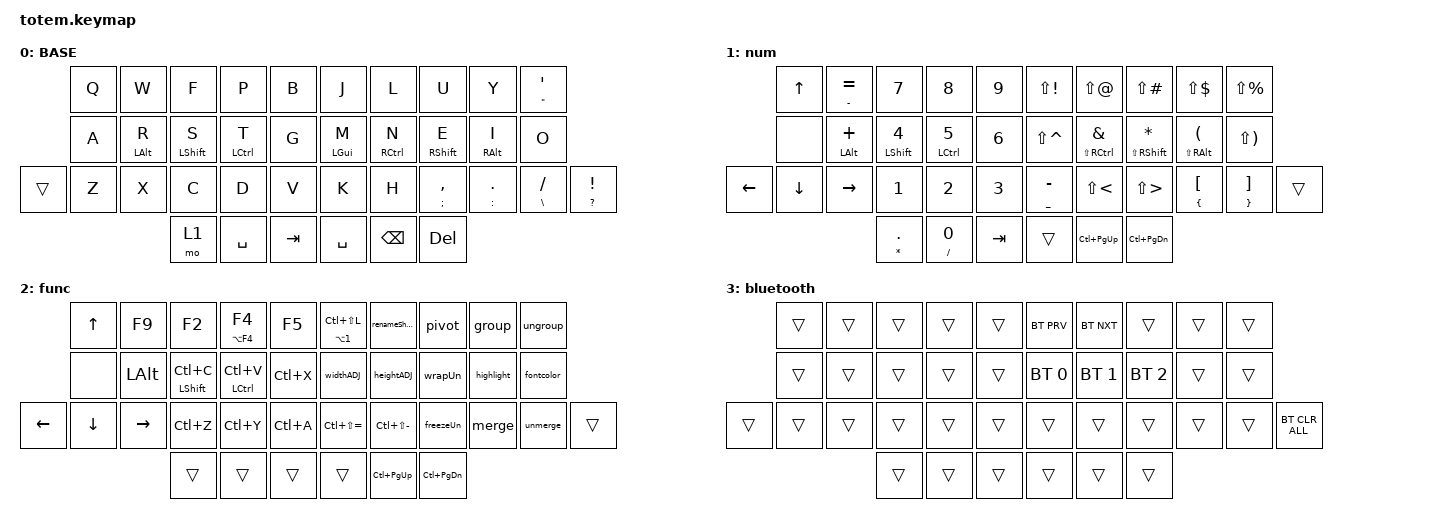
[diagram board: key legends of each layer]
//
//                                                        ▀▀▀▀▀     ▀▀▀▀▀          ▀▀█▀▀
//                                                        ▄▀▀▀▄  ▄  ▄▀▀▀▄  ▄  ▄▀▀▀▄  █  ▄▀▀▀▄
//                                                        █   █  █  █   █  █  █   █  █  █   █
//                                                         ▀▀▀   █   ▀▀▀   █   ▀▀▀   ▀   ▀▀▀
//                                                               █      ▄▄▄█▄▄▄    █   █  
//                                                               ▀      █  █  █     █▄█
//                                                             ▀▀▀▀▀    █  █  █      ▀
//                                                                      ▀  ▀  ▀
//
// ▄▄▄▄▄▄▄▄▄▄▄▄▄▄▄▄▄▄▄▄▄▄▄▄▄▄▄▄▄▄▄▄▄▄▄▄▄▄▄▄▄▄▄▄▄▄▄▄▄▄▄▄▄▄▄▄▄▄▄▄▄▄▄▄▄▄▄▄▄▄▄▄▄▄▄▄▄▄▄▄▄▄▄▄▄▄▄▄▄▄▄▄▄▄▄▄▄▄▄▄▄▄▄▄▄▄▄▄▄▄▄▄▄▄▄▄▄▄▄▄▄▄▄▄▄▄▄▄▄▄▄▄▄▄▄▄▄▄▄▄▄▄▄▄▄▄▄▄▄

#include <behaviors.dtsi>
#include <dt-bindings/zmk/bt.h>
#include <dt-bindings/zmk/keys.h>

#define BASE 0
#define NAV  1
#define SYM  2
#define ADJ  3

&mt {
    quick-tap-ms = <100>;
    global-quick-tap;
    flavor = "tap-preferred";
    tapping-term-ms = <190>;
};

/ {
    combos {
        compatible = "zmk,combos";

        numlayer {
            bindings = <&to 1>;
            key-positions = <32 10>;
        };

        funclayer {
            bindings = <&to 2>;
            key-positions = <32 21>;
        };

        baselayer {
            bindings = <&to 0>;
            key-positions = <32 0>;
        };

        esc {
            bindings = <&kp ESCAPE>;
            key-positions = <25 24>;
        };

        enter {
            bindings = <&kp ENTER>;
            key-positions = <14 13>;
        };

        backspace {
            bindings = <&kp BACKSPACE>;
            key-positions = <2 3>;
        };

        del {
            bindings = <&kp DELETE>;
            key-positions = <4 3>;
        };

        f2 {
            bindings = <&kp F2>;
            key-positions = <23 24>;
        };

        moBase {
            bindings = <&mo 0>;
            key-positions = <5 6>;
        };

        moNum {
            bindings = <&mo 1>;
            key-positions = <15 16>;
        };

        moFunc {
            bindings = <&mo 2>;
            key-positions = <26 27>;
        };

        btLayer {
            bindings = <&mo 3>;
            key-positions = <34 35>;
        };

        end {
            bindings = <&kp END>;
            key-positions = <10 22>;
        };

        home {
            bindings = <&kp HOME>;
            key-positions = <20 10>;
        };

        newtabExcel {
            bindings = <&kp LS(F11)>;
            key-positions = <1 2 3>;
        };
    };

    macros {
        pivot: pivot {
            compatible = "zmk,behavior-macro";
            #binding-cells = <0>;
            bindings = <&macro_tap>, <&kp LEFT_ALT &kp N &kp V &kp T>;

            label = "PIVOT";
        };

        widthADJ: widthADJ {
            compatible = "zmk,behavior-macro";
            #binding-cells = <0>;
            bindings = <&macro_tap>, <&kp LEFT_ALT &kp H &kp O &kp I>;

            label = "WIDTHADJ";
        };

        heightADJ: heightADJ {
            compatible = "zmk,behavior-macro";
            #binding-cells = <0>;
            bindings = <&macro_tap>, <&kp LEFT_ALT &kp H &kp O &kp A>;

            label = "HEIGHTADJ";
        };

        group: group {
            compatible = "zmk,behavior-macro";
            #binding-cells = <0>;
            bindings = <&macro_tap>, <&kp LEFT_ALT &kp A &kp G &kp G>;

            label = "GROUP";
        };

        ungroup: ungroup {
            compatible = "zmk,behavior-macro";
            #binding-cells = <0>;
            bindings = <&macro_tap>, <&kp LEFT_ALT &kp A &kp U &kp U>;

            label = "UNGROUP";
        };

        freezeUn: freezeUn {
            compatible = "zmk,behavior-macro";
            #binding-cells = <0>;
            bindings = <&macro_tap>, <&kp LEFT_ALT &kp W &kp F &kp F>;

            label = "FREEZEUN";
        };

        wrapUn: wrapUn {
            compatible = "zmk,behavior-macro";
            #binding-cells = <0>;
            bindings = <&macro_tap>, <&kp LEFT_ALT &kp H &kp W>;

            label = "WRAPUN";
        };

        highlight: highlight {
            compatible = "zmk,behavior-macro";
            #binding-cells = <0>;
            bindings = <&macro_tap>, <&kp LEFT_ALT &kp H &kp H>;

            label = "HIGHLIGHT";
        };

        fontcolor: fontcolor {
            compatible = "zmk,behavior-macro";
            #binding-cells = <0>;
            bindings = <&macro_tap>, <&kp LEFT_ALT &kp H &kp F &kp C>;

            label = "FONTCOLOR";
        };

        merge: merge {
            compatible = "zmk,behavior-macro";
            #binding-cells = <0>;
            bindings = <&macro_tap>, <&kp LEFT_ALT &kp H &kp M &kp M>;

            label = "MERGE";
        };

        unmerge: unmerge {
            compatible = "zmk,behavior-macro";
            #binding-cells = <0>;
            bindings = <&macro_tap>, <&kp LEFT_ALT &kp H &kp M &kp U>;

            label = "UNMERGE";
        };

        renameSheet: renameSheet {
            compatible = "zmk,behavior-macro";
            #binding-cells = <0>;
            bindings = <&macro_tap>, <&kp LEFT_ALT &kp H &kp O &kp R>;

            label = "RENAMESHEET";
        };
    };

    keymap {
        compatible = "zmk,keymap";

        // ▄▄▄▄▄▄▄▄▄▄▄▄▄▄▄▄▄▄▄▄▄▄▄▄▄▄▄▄▄▄▄▄▄▄▄▄▄▄▄▄▄▄▄▄▄▄▄▄▄▄▄▄▄▄▄▄▄▄▄▄▄▄▄▄▄▄▄▄▄▄▄▄▄▄▄▄▄▄▄▄▄▄▄▄▄▄▄▄▄▄▄▄▄▄▄▄▄▄▄▄▄▄▄▄▄▄▄▄▄▄▄▄▄▄▄▄▄▄▄▄▄▄▄▄▄▄▄▄▄▄▄▄▄▄▄▄▄▄▄▄▄▄▄▄▄▄▄▄▄

        base_layer {
            // ┏━━━━━━━━━━━━━━━━━━━━━━━━━━━━━━━━━━━━━━━┓

            label = "BASE";

            // ┗━━━━━━━━━━━━━━━━━━━━━━━━━━━━━━━━━━━━━━━┛
            //             ┏━━━━━━━━━━━┳━━━━━━━━━━━┳━━━━━━━━━━━┳━━━━━━━━━━━┳━━━━━━━━━━━┓   ┏━━━━━━━━━━━┳━━━━━━━━━━━┳━━━━━━━━━━━┳━━━━━━━━━━━┳━━━━━━━━━━━┓
            //             ┃     Q     ┃     W     ┃     F     ┃     P     ┃     G     ┃   ┃     J     ┃     L     ┃     U     ┃     Y     ┃     ;     ┃
            //             ┣━━━━━━━━━━━╋━━━━━━━━━━━╋━━━━━━━━━━━╋━━━━━━━━━━━╋━━━━━━━━━━━┫   ┣━━━━━━━━━━━╋━━━━━━━━━━━╋━━━━━━━━━━━╋━━━━━━━━━━━╋━━━━━━━━━━━┫
            //             ┃     A     ┃     R     ┃     S     ┃     T     ┃     D     ┃   ┃     H     ┃     N     ┃     E     ┃     I     ┃     O     ┃
            // ┏━━━━━━━━━━━╋━━━━━━━━━━━╋━━━━━━━━━━━╋━━━━━━━━━━━╋━━━━━━━━━━━╋━━━━━━━━━━━┫   ┣━━━━━━━━━━━╋━━━━━━━━━━━╋━━━━━━━━━━━╋━━━━━━━━━━━╋━━━━━━━━━━━╋━━━━━━━━━━━┓
            // ┃           ┃     Z     ┃     X     ┃     C     ┃     V     ┃     B     ┃   ┃     K     ┃     M     ┃     ,     ┃     .     ┃     /     ┃           ┃
            // ┗━━━━━━━━━━━┻━━━━━━━━━━━┻━━━━━━━━━━━╋━━━━━━━━━━━╋━━━━━━━━━━━╋━━━━━━━━━━━┫   ┣━━━━━━━━━━━╋━━━━━━━━━━━╋━━━━━━━━━━━╋━━━━━━━━━━━┻━━━━━━━━━━━┻━━━━━━━━━━━┛
            //                                     ┃           ┃    TAB    ┃    SPC    ┃   ┃   ENTER   ┃   BSPC    ┃           ┃
            //                                     ┗━━━━━━━━━━━┻━━━━━━━━━━━┻━━━━━━━━━━━┛   ┗━━━━━━━━━━━┻━━━━━━━━━━━┻━━━━━━━━━━━┛

            bindings = <
        &kp Q  &kp W           &kp F             &kp P        &kp B      &kp J           &kp L        &kp U                &kp Y             &mt DOUBLE_QUOTES SQT
        &kp A  &mt LEFT_ALT R  &mt LEFT_SHIFT S  &mt LCTRL T  &kp G      &mt LEFT_GUI M  &mt RCTRL N  &mt RIGHT_SHIFT E    &mt RALT I        &kp O
&trans  &kp Z  &kp X           &kp C             &kp D        &kp V      &kp K           &kp H        &mt SEMICOLON COMMA  &mt COLON PERIOD  &mt BACKSLASH SLASH    &mt QUESTION EXCLAMATION
                               &mo 1             &kp SPACE    &kp TAB    &kp SPACE       &kp BSPC     &kp DELETE
            >;
        };

        // ▄▄▄▄▄▄▄▄▄▄▄▄▄▄▄▄▄▄▄▄▄▄▄▄▄▄▄▄▄▄▄▄▄▄▄▄▄▄▄▄▄▄▄▄▄▄▄▄▄▄▄▄▄▄▄▄▄▄▄▄▄▄▄▄▄▄▄▄▄▄▄▄▄▄▄▄▄▄▄▄▄▄▄▄▄▄▄▄▄▄▄▄▄▄▄▄▄▄▄▄▄▄▄▄▄▄▄▄▄▄▄▄▄▄▄▄▄▄▄▄▄▄▄▄▄▄▄▄▄▄▄▄▄▄▄▄▄▄▄▄▄▄▄▄▄▄▄▄▄
        // ▄▄▄▄▄▄▄▄▄▄▄▄▄▄▄▄▄▄▄▄▄▄▄▄▄▄▄▄▄▄▄▄▄▄▄▄▄▄▄▄▄▄▄▄▄▄▄▄▄▄▄▄▄▄▄▄▄▄▄▄▄▄▄▄▄▄▄▄▄▄▄▄▄▄▄▄▄▄▄▄▄▄▄▄▄▄▄▄▄▄▄▄▄▄▄▄▄▄▄▄▄▄▄▄▄▄▄▄▄▄▄▄▄▄▄▄▄▄▄▄▄▄▄▄▄▄▄▄▄▄▄▄▄▄▄▄▄▄▄▄▄▄▄▄▄▄▄▄▄
        // ▄▄▄▄▄▄▄▄▄▄▄▄▄▄▄▄▄▄▄▄▄▄▄▄▄▄▄▄▄▄▄▄▄▄▄▄▄▄▄▄▄▄▄▄▄▄▄▄▄▄▄▄▄▄▄▄▄▄▄▄▄▄▄▄▄▄▄▄▄▄▄▄▄▄▄▄▄▄▄▄▄▄▄▄▄▄▄▄▄▄▄▄▄▄▄▄▄▄▄▄▄▄▄▄▄▄▄▄▄▄▄▄▄▄▄▄▄▄▄▄▄▄▄▄▄▄▄▄▄▄▄▄▄▄▄▄▄▄▄▄▄▄▄▄▄▄▄▄▄

        num {
            bindings = <
          &kp UP_ARROW    &mt MINUS EQUAL    &kp N7               &kp N8        &kp N9     &kp LS(EXCL)          &kp LS(AT)               &kp LS(POUND)                 &kp LS(DLLR)                        &kp LS(PRCNT)
          &none           &mt LEFT_ALT PLUS  &mt LEFT_SHIFT N4    &mt LCTRL N5  &kp N6     &kp LS(CARET)         &mt LS(RCTRL) AMPERSAND  &mt LS(RIGHT_SHIFT) ASTERISK  &mt LS(RIGHT_ALT) LEFT_PARENTHESIS  &kp LS(RPAR)
&kp LEFT  &kp DOWN_ARROW  &kp RIGHT          &kp N1               &kp N2        &kp N3     &mt UNDERSCORE MINUS  &kp LS(LT)               &kp LS(GT)                    &mt LEFT_BRACE LEFT_BRACKET         &mt RIGHT_BRACE RIGHT_BRACKET  &trans
                                             &mt ASTERISK PERIOD  &mt SLASH N0  &kp TAB    &trans                &kp LC(PG_UP)            &kp LC(PG_DN)
            >;
        };

        func {
            bindings = <
          &kp UP_ARROW    &kp F9        &kp F2                &mt LA(F4) F4    &kp F5       &mt LA(NUMBER_1) LC(LS(L))  &renameSheet       &pivot             &group      &ungroup
          &none           &kp LEFT_ALT  &mt LEFT_SHIFT LC(C)  &mt LCTRL LC(V)  &kp LC(X)    &widthADJ                   &heightADJ         &wrapUn            &highlight  &fontcolor
&kp LEFT  &kp DOWN_ARROW  &kp RIGHT     &kp LC(Z)             &kp LC(Y)        &kp LC(A)    &kp LC(LS(EQUAL))           &kp LC(LS(MINUS))  &freezeUn          &merge      &unmerge    &trans
                                        &trans                &trans           &trans       &trans                      &kp LC(PG_UP)      &kp LC(PAGE_DOWN)
            >;
        };

        bluetooth {
            bindings = <
        &trans  &trans  &trans  &trans  &trans    &bt BT_PRV    &bt BT_NXT    &trans        &trans  &trans
        &trans  &trans  &trans  &trans  &trans    &bt BT_SEL 0  &bt BT_SEL 1  &bt BT_SEL 2  &trans  &trans
&trans  &trans  &trans  &trans  &trans  &trans    &trans        &trans        &trans        &trans  &trans  &bt BT_CLR_ALL
                        &trans  &trans  &trans    &trans        &trans        &trans
            >;
        };
    };
};
